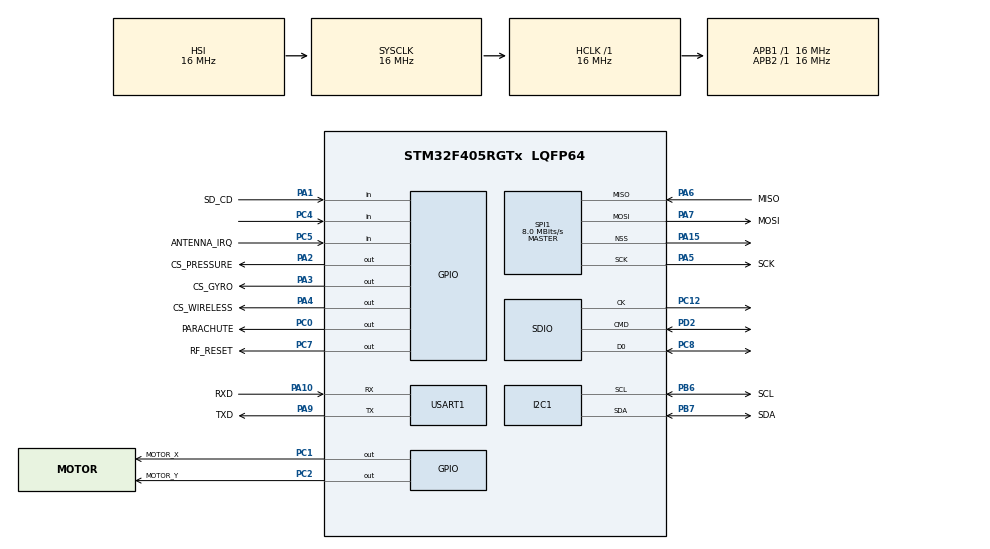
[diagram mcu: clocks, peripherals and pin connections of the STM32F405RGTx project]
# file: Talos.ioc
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FATFS.BSP.number=1
FATFS0.BSP.STBoard=false
FATFS0.BSP.api=Unknown
FATFS0.BSP.instance=PA1
FATFS0.BSP.ip=GPIO
FATFS0.BSP.mode=Input
FATFS0.BSP.name=Detect_SDIO
FATFS0.BSP.solution=PA1
I2C1.OwnAddress=0x41
Mcu.Family=STM32F4
Mcu.Name=STM32F405RGTx
Mcu.Package=LQFP64
NVIC.PriorityGroup=NVIC_PRIORITYGROUP_4
PA1.GPIO_Label=SD_CD
PA1.Signal=GPIO_Input
PA10.GPIO_Label=RXD
PA10.Mode=Asynchronous
PA10.Signal=USART1_RX
PA15.Mode=NSS_Signal_Hard_Output
PA15.Signal=SPI1_NSS
PA2.GPIO_Label=CS_PRESSURE
PA2.Signal=GPIO_Output
PA3.GPIO_Label=CS_GYRO
PA3.Signal=GPIO_Output
PA4.GPIO_Label=CS_WIRELESS
PA4.Signal=GPIO_Output
PA5.GPIO_Label=SCK
PA5.Mode=Full_Duplex_Master
PA5.Signal=SPI1_SCK
PA6.GPIO_Label=MISO
PA6.Mode=Full_Duplex_Master
PA6.Signal=SPI1_MISO
PA7.GPIO_Label=MOSI
PA7.Mode=Full_Duplex_Master
PA7.Signal=SPI1_MOSI
PA9.GPIO_Label=TXD
PA9.Mode=Asynchronous
PA9.Signal=USART1_TX
PB6.GPIO_Label=SCL
PB6.Mode=I2C
PB6.Signal=I2C1_SCL
PB7.GPIO_Label=SDA
PB7.Mode=I2C
PB7.Signal=I2C1_SDA
PC0.GPIO_Label=PARACHUTE
PC0.Signal=GPIO_Output
PC1.GPIO_Label=MOTOR_X
PC1.Signal=GPIO_Output
PC12.Mode=SD_1_bit
PC12.Signal=SDIO_CK
PC2.GPIO_Label=MOTOR_Y
PC2.Signal=GPIO_Output
PC3.GPIO_Label=IMU_INT
PC3.Signal=EVENTOUT
PC4.Signal=GPIO_Input
PC5.GPIO_Label=ANTENNA_IRQ
PC5.Signal=GPIO_Input
PC6.GPIO_Label=PRESSURE_INT
PC6.Signal=EVENTOUT
PC7.GPIO_Label=RF_RESET
PC7.Signal=GPIO_Output
PC8.Mode=SD_1_bit
PC8.Signal=SDIO_D0
PD2.Mode=SD_1_bit
PD2.Signal=SDIO_CMD
PH0-OSC_IN.Signal=RCC_OSC_IN
PH1-OSC_OUT.Signal=RCC_OSC_OUT
ProjectManager.HeapSize=0x200
ProjectManager.StackSize=0x400
ProjectManager.TargetToolchain=Makefile
RCC.AHBFreq_Value=16000000
RCC.APB1Freq_Value=16000000
RCC.APB2Freq_Value=16000000
RCC.CortexFreq_Value=16000000
RCC.HSE_VALUE=25000000
RCC.HSI_VALUE=16000000
RCC.LSE_VALUE=32768
RCC.SYSCLKFreq_VALUE=16000000
RCC.VCOOutputFreq_Value=192000000
SPI1.CalculateBaudRate=8.0 MBits/s
SPI1.Direction=SPI_DIRECTION_2LINES
SPI1.Mode=SPI_MODE_MASTER
SPI1.VirtualNSS=VM_NSSHARD
SPI1.VirtualType=VM_MASTER
USART1.VirtualMode=VM_ASYNC
VP_FATFS_VS_SDIO.Mode=SDIO
board=custom

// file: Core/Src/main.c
/* USER CODE BEGIN Header */
/**
  ******************************************************************************
  * @file           : main.c
  * @brief          : Main program body
  ******************************************************************************
  * @attention
  *
  * Copyright (c) 2024 STMicroelectronics.
  * All rights reserved.
  *
  * This software is licensed under terms that can be found in the LICENSE file
  * in the root directory of this software component.
  * If no LICENSE file comes with this software, it is provided AS-IS.
  *
  ******************************************************************************
  */
/* USER CODE END Header */
#include "main.h"
#include "fatfs.h"
#include <lsm6dsm_reg.h>
#include <stm32f405xx.h>

I2C_HandleTypeDef hi2c1;

SD_HandleTypeDef hsd;

SPI_HandleTypeDef hspi1;

UART_HandleTypeDef huart1;

void SystemClock_Config(void);
static void MX_GPIO_Init(void);
static void MX_SDIO_SD_Init(void);
static void MX_SPI1_Init(void);
static void MX_USART1_UART_Init(void);
static void MX_I2C1_Init(void);
/* USER CODE BEGIN PFP */
// function prototype
static int32_t platform_write(void *handle, uint8_t reg, const uint8_t *bufp,
                              uint16_t len);
static int32_t platform_read(void *handle, uint8_t reg, uint8_t *bufp,
                             uint16_t len);
static void platform_delay(uint32_t ms);
/* USER CODE END PFP */

/* USER CODE BEGIN 0 */
  int16_t temp;
//variable initialization
static int16_t data_raw_acceleration[3];
static int16_t data_raw_angular_rate[3];
static int16_t data_raw_temperature;
static float acceleration_mg[3];
static float angular_rate_mdps[3];
static float temperature_degC;
static uint8_t whoamI, rst;
/* USER CODE END 0 */

int main(void)
{

  /* MCU Configuration--------------------------------------------------------*/

  /* Reset of all peripherals, Initializes the Flash interface and the Systick. */
  HAL_Init();

  /* Configure the system clock */
  SystemClock_Config();

  /* Initialize all configured peripherals */
  MX_GPIO_Init();
  MX_SDIO_SD_Init();
  MX_SPI1_Init();
  MX_USART1_UART_Init();
  MX_I2C1_Init();
  MX_FATFS_Init();
  /* USER CODE BEGIN 2 */

   HAL_GPIO_WritePin(CS_GYRO_GPIO_Port, CS_GYRO_Pin, GPIO_PIN_SET);

   // variable initialization for sensor access
  stmdev_ctx_t dev_ctx;
  dev_ctx.write_reg = platform_write;
  dev_ctx.read_reg = platform_read;
  dev_ctx.handle = &hspi1;

  /* Wait sensor boot time */
  platform_delay(100);
  //set SPI as 3 wire communication
  lsm6dsm_spi_mode_set(&dev_ctx,LSM6DSM_SPI_3_WIRE);
  //set auto increment to read several register at same time
  lsm6dsm_auto_increment_set(&dev_ctx, 1);

  /* Check device ID */
  lsm6dsm_device_id_get(&dev_ctx, &whoamI);

  if (whoamI != LSM6DSM_ID)
    while (1) {
      /* manage here device not found */
    }

  /* Restore default configuration */
  // you should not call this function because it will give uncorrect output register value
  //lsm6dsm_reset_set(&dev_ctx, PROPERTY_ENABLE);

  do {
    lsm6dsm_reset_get(&dev_ctx, &rst);
  } while (rst);

  /*  Enable Block Data Update */
  lsm6dsm_block_data_update_set(&dev_ctx, PROPERTY_ENABLE);
  /* Set Output Data Rate for Acc and Gyro */
  lsm6dsm_xl_data_rate_set(&dev_ctx, LSM6DSM_XL_ODR_12Hz5);
  lsm6dsm_gy_data_rate_set(&dev_ctx, LSM6DSM_GY_ODR_12Hz5);
  /* Set full scale */
  lsm6dsm_xl_full_scale_set(&dev_ctx, LSM6DSM_2g);
  lsm6dsm_gy_full_scale_set(&dev_ctx, LSM6DSM_2000dps);
  /* Configure filtering chain(No aux interface)
   * Accelerometer - analog filter
   */
  lsm6dsm_xl_filter_analog_set(&dev_ctx, LSM6DSM_XL_ANA_BW_400Hz);
  /* Accelerometer - LPF1 path (LPF2 not used) */
  //lsm6dsm_xl_lp1_bandwidth_set(&dev_ctx, LSM6DSM_XL_LP1_ODR_DIV_4);
  /* Accelerometer - LPF1 + LPF2 path */
  lsm6dsm_xl_lp2_bandwidth_set(&dev_ctx,
                               LSM6DSM_XL_LOW_NOISE_LP_ODR_DIV_100);
  /* Accelerometer - High Pass / Slope path */
  //lsm6dsm_xl_reference_mode_set(&dev_ctx, PROPERTY_DISABLE);
  //lsm6dsm_xl_hp_bandwidth_set(&dev_ctx, LSM6DSM_XL_HP_ODR_DIV_100);
  /* Gyroscope - filtering chain */
  lsm6dsm_gy_band_pass_set(&dev_ctx, LSM6DSM_HP_260mHz_LP1_STRONG);

  /* USER CODE END 2 */

  /* Infinite loop */
  /* USER CODE BEGIN WHILE */
  while (1)
  {
    // HAL_UART_Transmit(&huart1, (uint8_t*)"Hello World!\r\n", 14, 1000);
    // TEMPERATURE SENSOR INIT

    // if (HAL_I2C_IsDeviceReady(&hi2c1, 0x41 << 1, 2, 1000) == HAL_OK) {
    //   if (HAL_I2C_Master_Transmit(&hi2c1, 0x41 << 1, (uint8_t*)0xBC, 2, 1000) == HAL_OK) {
    //     uint8_t tempData[3];
    //     if (HAL_I2C_Master_Receive(&hi2c1, 0x41 << 1, &tempData, 3, 1000) == HAL_OK) {
    //       temp = (int16_t)((tempData[1] << 8) | tempData[0]);
    //       float tempFloat = ((float)temp/256.0f)+25.0f;
    //       printf("Temperature: %.3f\r\n", tempFloat);
    //     }
    //   }
    // }
    /* USER CODE END WHILE */

    /* USER CODE BEGIN 3 */
     lsm6dsm_reg_t reg;
	    /* Read output only if new value is available */
	    lsm6dsm_status_reg_get(&dev_ctx, &reg.status_reg);

	    // if (reg.status_reg.xlda) {
	    //   /* Read acceleration field data */
	    //   memset(data_raw_acceleration, 0x00, 3 * sizeof(int16_t));
	    //   lsm6dsm_acceleration_raw_get(&dev_ctx, data_raw_acceleration);
	    //   acceleration_mg[0] =
	    //     lsm6dsm_from_fs2g_to_mg(data_raw_acceleration[0]);
	    //   acceleration_mg[1] =
	    //     lsm6dsm_from_fs2g_to_mg(data_raw_acceleration[1]);
	    //   acceleration_mg[2] =
	    //     lsm6dsm_from_fs2g_to_mg(data_raw_acceleration[2]);
	    //   printf("Acceleration [mg]:%4.2f\t%4.2f\t%4.2f\r\n",
	    //           acceleration_mg[0], acceleration_mg[1], acceleration_mg[2]);
	    // }

	    if (reg.status_reg.gda) {
	      /* Read angular rate field data */
	      memset(data_raw_angular_rate, 0x00, 3 * sizeof(int16_t));
	      lsm6dsm_angular_rate_raw_get(&dev_ctx, data_raw_angular_rate);
	      angular_rate_mdps[0] =
	        lsm6dsm_from_fs2000dps_to_mdps(data_raw_angular_rate[0]);
	      angular_rate_mdps[1] =
	        lsm6dsm_from_fs2000dps_to_mdps(data_raw_angular_rate[1]);
	      angular_rate_mdps[2] =
	        lsm6dsm_from_fs2000dps_to_mdps(data_raw_angular_rate[2]);
	      // printf("Angular rate [mdps]:%4.2f\t%4.2f\t%4.2f\r\n", angular_rate_mdps[0], angular_rate_mdps[1], angular_rate_mdps[2]);
	      printf("%4.2f,%4.2f,%4.2f\r\n", angular_rate_mdps[0], angular_rate_mdps[1], angular_rate_mdps[2]);
	    }

	    // if (reg.status_reg.tda) {
	    //   /* Read temperature data */
	    //   memset(&data_raw_temperature, 0x00, sizeof(int16_t));
	    //   lsm6dsm_temperature_raw_get(&dev_ctx, &data_raw_temperature);
	    //   temperature_degC = lsm6dsm_from_lsb_to_celsius(
	    //                        data_raw_temperature);
	    //   printf("Temperature [degC]:%6.2f\r\n",
	    //           temperature_degC);
	    // }
      platform_delay(100);
  }
  /* USER CODE END 3 */
}

void SystemClock_Config(void)
{
  RCC_OscInitTypeDef RCC_OscInitStruct = {0};
  RCC_ClkInitTypeDef RCC_ClkInitStruct = {0};

  /** Configure the main internal regulator output voltage
  */
  __HAL_RCC_PWR_CLK_ENABLE();
  __HAL_PWR_VOLTAGESCALING_CONFIG(PWR_REGULATOR_VOLTAGE_SCALE1);

  /** Initializes the RCC Oscillators according to the specified parameters
  * in the RCC_OscInitTypeDef structure.
  */
  RCC_OscInitStruct.OscillatorType = RCC_OSCILLATORTYPE_HSI;
  RCC_OscInitStruct.HSIState = RCC_HSI_ON;
  RCC_OscInitStruct.HSICalibrationValue = RCC_HSICALIBRATION_DEFAULT;
  RCC_OscInitStruct.PLL.PLLState = RCC_PLL_ON;
  RCC_OscInitStruct.PLL.PLLSource = RCC_PLLSOURCE_HSI;
  RCC_OscInitStruct.PLL.PLLM = 16;
  RCC_OscInitStruct.PLL.PLLN = 192;
  RCC_OscInitStruct.PLL.PLLP = RCC_PLLP_DIV2;
  RCC_OscInitStruct.PLL.PLLQ = 4;
  if (HAL_RCC_OscConfig(&RCC_OscInitStruct) != HAL_OK)
  {
    Error_Handler();
  }

  /** Initializes the CPU, AHB and APB buses clocks
  */
  RCC_ClkInitStruct.ClockType = RCC_CLOCKTYPE_HCLK|RCC_CLOCKTYPE_SYSCLK
                              |RCC_CLOCKTYPE_PCLK1|RCC_CLOCKTYPE_PCLK2;
  RCC_ClkInitStruct.SYSCLKSource = RCC_SYSCLKSOURCE_HSI;
  RCC_ClkInitStruct.AHBCLKDivider = RCC_SYSCLK_DIV1;
  RCC_ClkInitStruct.APB1CLKDivider = RCC_HCLK_DIV1;
  RCC_ClkInitStruct.APB2CLKDivider = RCC_HCLK_DIV1;

  if (HAL_RCC_ClockConfig(&RCC_ClkInitStruct, FLASH_LATENCY_0) != HAL_OK)
  {
    Error_Handler();
  }
}

static void MX_I2C1_Init(void)
{

  hi2c1.Instance = I2C1;
  hi2c1.Init.ClockSpeed = 100000;
  hi2c1.Init.DutyCycle = I2C_DUTYCYCLE_2;
  hi2c1.Init.OwnAddress1 = 130;
  hi2c1.Init.AddressingMode = I2C_ADDRESSINGMODE_7BIT;
  hi2c1.Init.DualAddressMode = I2C_DUALADDRESS_DISABLE;
  hi2c1.Init.OwnAddress2 = 0;
  hi2c1.Init.GeneralCallMode = I2C_GENERALCALL_DISABLE;
  hi2c1.Init.NoStretchMode = I2C_NOSTRETCH_DISABLE;
  if (HAL_I2C_Init(&hi2c1) != HAL_OK)
  {
    Error_Handler();
  }
  /* USER CODE BEGIN I2C1_Init 2 */
    if (HAL_I2C_IsDeviceReady(&hi2c1, 0x41 << 1, 2, 1000) != HAL_OK) {
      HAL_UART_Transmit(&huart1, (uint8_t*)"Temperature not ready\r\n", 32, 1000);
    } else {
      HAL_I2C_Mem_Write(&hi2c1, 0x41 << 1, 0x04, 1, (uint8_t*)0x00, 1, 1000);
    }
  /* USER CODE END I2C1_Init 2 */

}

static void MX_SDIO_SD_Init(void)
{

  hsd.Instance = SDIO;
  hsd.Init.ClockEdge = SDIO_CLOCK_EDGE_RISING;
  hsd.Init.ClockBypass = SDIO_CLOCK_BYPASS_DISABLE;
  hsd.Init.ClockPowerSave = SDIO_CLOCK_POWER_SAVE_DISABLE;
  hsd.Init.BusWide = SDIO_BUS_WIDE_1B;
  hsd.Init.HardwareFlowControl = SDIO_HARDWARE_FLOW_CONTROL_DISABLE;
  hsd.Init.ClockDiv = 0;

}

static void MX_SPI1_Init(void)
{

  /* SPI1 parameter configuration*/
  hspi1.Instance = SPI1;
  hspi1.Init.Mode = SPI_MODE_MASTER;
  hspi1.Init.Direction = SPI_DIRECTION_2LINES;
  hspi1.Init.DataSize = SPI_DATASIZE_8BIT;
  hspi1.Init.CLKPolarity = SPI_POLARITY_LOW;
  hspi1.Init.CLKPhase = SPI_PHASE_1EDGE;
  hspi1.Init.NSS = SPI_NSS_HARD_OUTPUT;
  hspi1.Init.BaudRatePrescaler = SPI_BAUDRATEPRESCALER_2;
  hspi1.Init.FirstBit = SPI_FIRSTBIT_MSB;
  hspi1.Init.TIMode = SPI_TIMODE_DISABLE;
  hspi1.Init.CRCCalculation = SPI_CRCCALCULATION_DISABLE;
  hspi1.Init.CRCPolynomial = 10;
  if (HAL_SPI_Init(&hspi1) != HAL_OK)
  {
    Error_Handler();
  }

}

static void MX_USART1_UART_Init(void)
{

  huart1.Instance = USART1;
  huart1.Init.BaudRate = 115200;
  huart1.Init.WordLength = UART_WORDLENGTH_8B;
  huart1.Init.StopBits = UART_STOPBITS_1;
  huart1.Init.Parity = UART_PARITY_NONE;
  huart1.Init.Mode = UART_MODE_TX_RX;
  huart1.Init.HwFlowCtl = UART_HWCONTROL_NONE;
  huart1.Init.OverSampling = UART_OVERSAMPLING_16;
  if (HAL_UART_Init(&huart1) != HAL_OK)
  {
    Error_Handler();
  }

}

static void MX_GPIO_Init(void)
{
  GPIO_InitTypeDef GPIO_InitStruct = {0};

  /* GPIO Ports Clock Enable */
  __HAL_RCC_GPIOH_CLK_ENABLE();
  __HAL_RCC_GPIOC_CLK_ENABLE();
  __HAL_RCC_GPIOA_CLK_ENABLE();
  __HAL_RCC_GPIOD_CLK_ENABLE();
  __HAL_RCC_GPIOB_CLK_ENABLE();

  /*Configure GPIO pin Output Level */
  HAL_GPIO_WritePin(GPIOC, PARACHUTE_Pin|MOTOR_X_Pin|MOTOR_Y_Pin|RF_RESET_Pin, GPIO_PIN_RESET);

  /*Configure GPIO pin Output Level */
  HAL_GPIO_WritePin(GPIOA, CS_PRESSURE_Pin|CS_GYRO_Pin|CS_WIRELESS_Pin, GPIO_PIN_RESET);

  /*Configure GPIO pins : PARACHUTE_Pin MOTOR_X_Pin MOTOR_Y_Pin RF_RESET_Pin */
  GPIO_InitStruct.Pin = PARACHUTE_Pin|MOTOR_X_Pin|MOTOR_Y_Pin|RF_RESET_Pin;
  GPIO_InitStruct.Mode = GPIO_MODE_OUTPUT_PP;
  GPIO_InitStruct.Pull = GPIO_NOPULL;
  GPIO_InitStruct.Speed = GPIO_SPEED_FREQ_LOW;
  HAL_GPIO_Init(GPIOC, &GPIO_InitStruct);

  /*Configure GPIO pins : IMU_INT_Pin PRESSURE_INT_Pin */
  GPIO_InitStruct.Pin = IMU_INT_Pin|PRESSURE_INT_Pin;
  GPIO_InitStruct.Mode = GPIO_MODE_AF_PP;
  GPIO_InitStruct.Pull = GPIO_NOPULL;
  GPIO_InitStruct.Speed = GPIO_SPEED_FREQ_LOW;
  GPIO_InitStruct.Alternate = GPIO_AF15_EVENTOUT;
  HAL_GPIO_Init(GPIOC, &GPIO_InitStruct);

  /*Configure GPIO pin : SD_CD_Pin */
  GPIO_InitStruct.Pin = SD_CD_Pin;
  GPIO_InitStruct.Mode = GPIO_MODE_INPUT;
  GPIO_InitStruct.Pull = GPIO_NOPULL;
  HAL_GPIO_Init(SD_CD_GPIO_Port, &GPIO_InitStruct);

  /*Configure GPIO pins : CS_PRESSURE_Pin CS_GYRO_Pin CS_WIRELESS_Pin */
  GPIO_InitStruct.Pin = CS_PRESSURE_Pin|CS_GYRO_Pin|CS_WIRELESS_Pin;
  GPIO_InitStruct.Mode = GPIO_MODE_OUTPUT_PP;
  GPIO_InitStruct.Pull = GPIO_NOPULL;
  GPIO_InitStruct.Speed = GPIO_SPEED_FREQ_LOW;
  HAL_GPIO_Init(GPIOA, &GPIO_InitStruct);

  /*Configure GPIO pins : PC4 ANTENNA_IRQ_Pin */
  GPIO_InitStruct.Pin = GPIO_PIN_4|ANTENNA_IRQ_Pin;
  GPIO_InitStruct.Mode = GPIO_MODE_INPUT;
  GPIO_InitStruct.Pull = GPIO_NOPULL;
  HAL_GPIO_Init(GPIOC, &GPIO_InitStruct);

}

/* USER CODE BEGIN 4 */

int _write(int fd, char* ptr, int len) {
	HAL_UART_Transmit(&huart1, (uint8_t*) ptr, len, 0xffffff);
	return len;
}

/*
 * @brief  Write generic device register (platform dependent)
 *
 * @param  handle    customizable argument. In this examples is used in
 *                   order to select the correct sensor bus handler.
 * @param  reg       register to write
 * @param  bufp      pointer to data to write in register reg
 * @param  len       number of consecutive register to write
 *
 */
static int32_t platform_write(void *handle, uint8_t reg, const uint8_t *bufp,
                              uint16_t len)
{
	  HAL_GPIO_WritePin(GPIOA, CS_GYRO_Pin, GPIO_PIN_RESET);
	  HAL_SPI_Transmit(handle, &reg, 1, 1000);
	  HAL_SPI_Transmit(handle, (uint8_t*) bufp, len, 1000);
	  HAL_GPIO_WritePin(GPIOA, CS_GYRO_Pin, GPIO_PIN_SET);
  return 0;
}

/*
 * @brief  Read generic device register (platform dependent)
 *
 * @param  handle    customizable argument. In this examples is used in
 *                   order to select the correct sensor bus handler.
 * @param  reg       register to read
 * @param  bufp      pointer to buffer that store the data read
 * @param  len       number of consecutive register to read
 *
 */
static int32_t platform_read(void *handle, uint8_t reg, uint8_t *bufp,
                             uint16_t len)
{
	  reg |= 0x80;
	  HAL_GPIO_WritePin(GPIOA, CS_GYRO_Pin, GPIO_PIN_RESET);
	  HAL_SPI_Transmit(handle, &reg, 1, 1000);
	  HAL_SPI_Receive(handle, bufp, len, 1000);
	  HAL_GPIO_WritePin(GPIOA, CS_GYRO_Pin, GPIO_PIN_SET);
  return 0;
}

/*
 * @brief  platform specific delay (platform dependent)
 *
 * @param  ms        delay in ms
 *
 */
static void platform_delay(uint32_t ms)
{
  HAL_Delay(ms);
}

/* USER CODE END 4 */

void Error_Handler(void)
{
  __disable_irq();
  while (1)
  {
  }
}
